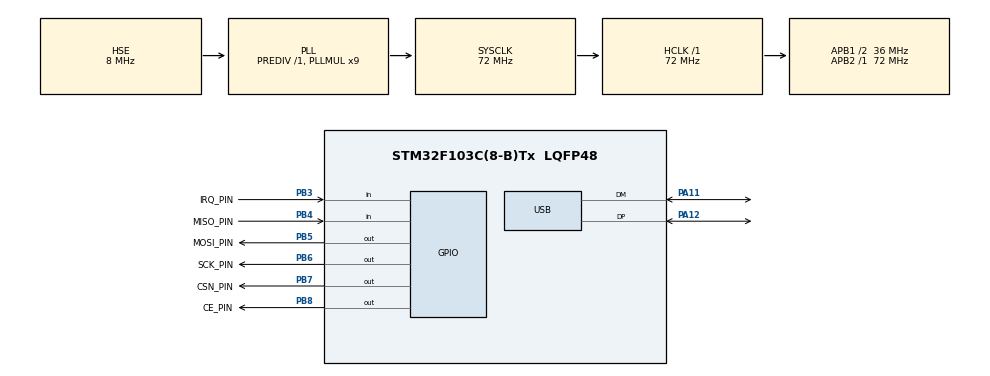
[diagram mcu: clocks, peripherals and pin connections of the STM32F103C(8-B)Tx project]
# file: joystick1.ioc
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Mcu.Family=STM32F1
Mcu.Name=STM32F103C(8-B)Tx
Mcu.Package=LQFP48
NVIC.PriorityGroup=NVIC_PRIORITYGROUP_4
NVIC.USB_LP_CAN1_RX0_IRQn=true\:0\:0\:false\:false\:true\:false\:true
PA11.Mode=Device
PA11.Signal=USB_DM
PA12.Mode=Device
PA12.Signal=USB_DP
PA13.Mode=Serial_Wire
PA13.Signal=SYS_JTMS-SWDIO
PA14.Mode=Serial_Wire
PA14.Signal=SYS_JTCK-SWCLK
PB3.GPIO_Label=IRQ_PIN
PB3.Signal=GPIO_Input
PB4.GPIO_Label=MISO_PIN
PB4.Signal=GPIO_Input
PB5.GPIO_Label=MOSI_PIN
PB5.GPIO_Speed=GPIO_SPEED_FREQ_HIGH
PB5.PinState=GPIO_PIN_SET
PB5.Signal=GPIO_Output
PB6.GPIO_Label=SCK_PIN
PB6.GPIO_Speed=GPIO_SPEED_FREQ_HIGH
PB6.PinState=GPIO_PIN_SET
PB6.Signal=GPIO_Output
PB7.GPIO_Label=CSN_PIN
PB7.GPIO_Speed=GPIO_SPEED_FREQ_HIGH
PB7.PinState=GPIO_PIN_SET
PB7.Signal=GPIO_Output
PB8.GPIO_Label=CE_PIN
PB8.GPIO_Speed=GPIO_SPEED_FREQ_HIGH
PB8.PinState=GPIO_PIN_SET
PB8.Signal=GPIO_Output
PD0-OSC_IN.Mode=HSE-External-Oscillator
PD0-OSC_IN.Signal=RCC_OSC_IN
PD1-OSC_OUT.Mode=HSE-External-Oscillator
PD1-OSC_OUT.Signal=RCC_OSC_OUT
ProjectManager.HeapSize=0x200
ProjectManager.StackSize=0x400
ProjectManager.TargetToolchain=STM32CubeIDE
RCC.AHBFreq_Value=72000000
RCC.APB1CLKDivider=RCC_HCLK_DIV2
RCC.APB1Freq_Value=36000000
RCC.APB1TimFreq_Value=72000000
RCC.APB2Freq_Value=72000000
RCC.APB2TimFreq_Value=72000000
RCC.HCLKFreq_Value=72000000
RCC.PLLMUL=RCC_PLL_MUL9
RCC.SYSCLKFreq_VALUE=72000000
RCC.SYSCLKSource=RCC_SYSCLKSOURCE_PLLCLK
RCC.USBFreq_Value=48000000
RCC.USBPrescaler=RCC_USBCLKSOURCE_PLL_DIV1_5
USB_DEVICE.CLASS_NAME_FS=CUSTOM_HID
USB_DEVICE.VirtualMode=CustomHid
USB_DEVICE.VirtualModeFS=Custom_Hid_FS
VP_USB_DEVICE_VS_USB_DEVICE_CUSTOM_HID_FS.Mode=CUSTOM_HID_FS
board=custom

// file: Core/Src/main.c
/* USER CODE BEGIN Header */
/**
 ******************************************************************************
 * @file           : main.c
 * @brief          : Main program body
 ******************************************************************************
 * @attention
 *
 * <h2><center>&copy; Copyright (c) 2020 STMicroelectronics.
 * All rights reserved.</center></h2>
 *
 * This software component is licensed by ST under BSD 3-Clause license,
 * the "License"; You may not use this file except in compliance with the
 * License. You may obtain a copy of the License at:
 *                        opensource.org/licenses/BSD-3-Clause
 *
 ******************************************************************************
 */
/* USER CODE END Header */
#include "main.h"
#include "usb_device.h"

/* USER CODE BEGIN Includes */
#include "rfm73.h"
/* USER CODE END Includes */

/* USER CODE BEGIN PV */
extern USBD_HandleTypeDef  hUsbDeviceFS;
uint8_t rfm73buf[3];
int8_t buffer[4] = {0};
int16_t throttle = 0;
int16_t xAxis = 0;
uint8_t stopTimer = 0;
/* USER CODE END PV */

void SystemClock_Config(void);
static void MX_GPIO_Init(void);
uint8_t USBD_CUSTOM_HID_SendReport(USBD_HandleTypeDef  *pdev, uint8_t *report, uint16_t len);

int main(void)
{

	/* MCU Configuration--------------------------------------------------------*/

	/* Reset of all peripherals, Initializes the Flash interface and the Systick. */
	HAL_Init();

	/* Configure the system clock */
	SystemClock_Config();

	/* Initialize all configured peripherals */
	MX_GPIO_Init();
	MX_USB_DEVICE_Init();
	/* USER CODE BEGIN 2 */
	rfm73_init();
	rfm73_channel(0);
	rfm73_mode_receive();
	/* USER CODE END 2 */

	/* Infinite loop */
	/* USER CODE BEGIN WHILE */
	while (1)
	{
		if(!HAL_GPIO_ReadPin(GPIOB, GPIO_PIN_3)) {
			rfm73_buffer_read( RFM73_CMD_R_RX_PAYLOAD, rfm73buf, 3 );
			rfm73_register_write( RFM73_REG_STATUS ,  0x42); // 0b0100 0010 reset interrupt pin

			throttle = (int16_t)rfm73buf[0] - 127;
			throttle *= -1;
			if (throttle < -126) {
				throttle = -126;
			} else if (throttle >= 126) {
				throttle = 126;
			}
			buffer[2] = (int8_t)throttle;

			xAxis = (int16_t)rfm73buf[1] - 127;
			if (xAxis < -126) {
				xAxis = -126;
			} else if (xAxis >= 126) {
				xAxis = 126;
			}
			buffer[1] = (int8_t)xAxis;
		} else {
			stopTimer++;
			HAL_Delay(1);
			if (stopTimer > 250) {
				for(uint8_t i = 0; i < 32; i++) {
					rfm73_buffer_read(RFM73_CMD_R_RX_PAYLOAD, rfm73buf, 1);
				}
				rfm73_register_write(RFM73_REG_STATUS,  0x42); // 0b0100 0010 reset interrupt pin
				stopTimer = 0; // reset stop counter
				buffer[1] = 0;
				buffer[2] = 0;
			}
		}

		USBD_CUSTOM_HID_SendReport(&hUsbDeviceFS, buffer, (uint16_t)sizeof(buffer));
		/* USER CODE END WHILE */

	}
}

void SystemClock_Config(void)
{
	RCC_OscInitTypeDef RCC_OscInitStruct = {0};
	RCC_ClkInitTypeDef RCC_ClkInitStruct = {0};
	RCC_PeriphCLKInitTypeDef PeriphClkInit = {0};

	/** Initializes the RCC Oscillators according to the specified parameters
	 * in the RCC_OscInitTypeDef structure.
	 */
	RCC_OscInitStruct.OscillatorType = RCC_OSCILLATORTYPE_HSE;
	RCC_OscInitStruct.HSEState = RCC_HSE_ON;
	RCC_OscInitStruct.HSEPredivValue = RCC_HSE_PREDIV_DIV1;
	RCC_OscInitStruct.HSIState = RCC_HSI_ON;
	RCC_OscInitStruct.PLL.PLLState = RCC_PLL_ON;
	RCC_OscInitStruct.PLL.PLLSource = RCC_PLLSOURCE_HSE;
	RCC_OscInitStruct.PLL.PLLMUL = RCC_PLL_MUL9;
	if (HAL_RCC_OscConfig(&RCC_OscInitStruct) != HAL_OK)
	{
		Error_Handler();
	}
	/** Initializes the CPU, AHB and APB buses clocks
	 */
	RCC_ClkInitStruct.ClockType = RCC_CLOCKTYPE_HCLK|RCC_CLOCKTYPE_SYSCLK
			|RCC_CLOCKTYPE_PCLK1|RCC_CLOCKTYPE_PCLK2;
	RCC_ClkInitStruct.SYSCLKSource = RCC_SYSCLKSOURCE_PLLCLK;
	RCC_ClkInitStruct.AHBCLKDivider = RCC_SYSCLK_DIV1;
	RCC_ClkInitStruct.APB1CLKDivider = RCC_HCLK_DIV2;
	RCC_ClkInitStruct.APB2CLKDivider = RCC_HCLK_DIV1;

	if (HAL_RCC_ClockConfig(&RCC_ClkInitStruct, FLASH_LATENCY_2) != HAL_OK)
	{
		Error_Handler();
	}
	PeriphClkInit.PeriphClockSelection = RCC_PERIPHCLK_USB;
	PeriphClkInit.UsbClockSelection = RCC_USBCLKSOURCE_PLL_DIV1_5;
	if (HAL_RCCEx_PeriphCLKConfig(&PeriphClkInit) != HAL_OK)
	{
		Error_Handler();
	}
}

static void MX_GPIO_Init(void)
{
	GPIO_InitTypeDef GPIO_InitStruct = {0};

	/* GPIO Ports Clock Enable */
	__HAL_RCC_GPIOD_CLK_ENABLE();
	__HAL_RCC_GPIOA_CLK_ENABLE();
	__HAL_RCC_GPIOB_CLK_ENABLE();

	/*Configure GPIO pin Output Level */
	HAL_GPIO_WritePin(GPIOB, MOSI_PIN_Pin|SCK_PIN_Pin|CSN_PIN_Pin|CE_PIN_Pin, GPIO_PIN_SET);

	/*Configure GPIO pins : IRQ_PIN_Pin MISO_PIN_Pin */
	GPIO_InitStruct.Pin = IRQ_PIN_Pin|MISO_PIN_Pin;
	GPIO_InitStruct.Mode = GPIO_MODE_INPUT;
	GPIO_InitStruct.Pull = GPIO_NOPULL;
	HAL_GPIO_Init(GPIOB, &GPIO_InitStruct);

	/*Configure GPIO pins : MOSI_PIN_Pin SCK_PIN_Pin CSN_PIN_Pin CE_PIN_Pin */
	GPIO_InitStruct.Pin = MOSI_PIN_Pin|SCK_PIN_Pin|CSN_PIN_Pin|CE_PIN_Pin;
	GPIO_InitStruct.Mode = GPIO_MODE_OUTPUT_PP;
	GPIO_InitStruct.Pull = GPIO_NOPULL;
	GPIO_InitStruct.Speed = GPIO_SPEED_FREQ_HIGH;
	HAL_GPIO_Init(GPIOB, &GPIO_InitStruct);

}

void Error_Handler(void)
{
}

/************************ (C) COPYRIGHT STMicroelectronics *****END OF FILE****/
